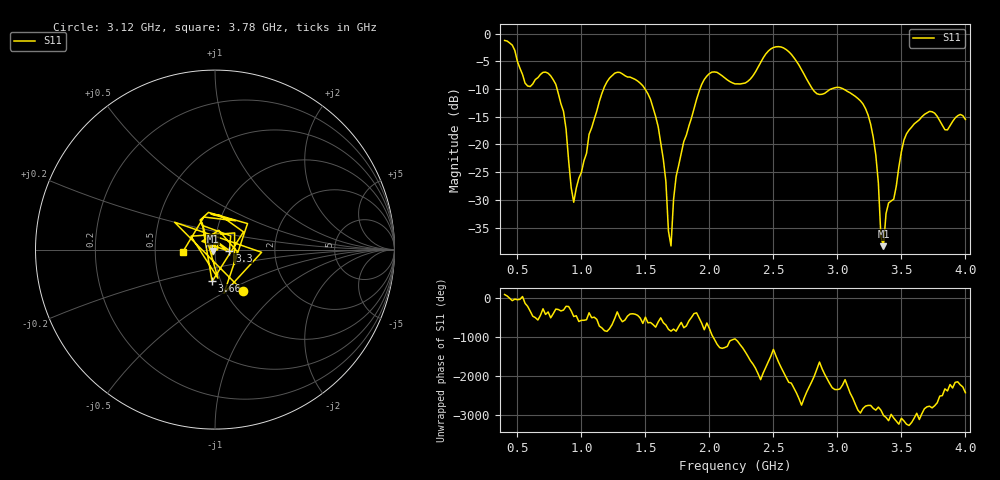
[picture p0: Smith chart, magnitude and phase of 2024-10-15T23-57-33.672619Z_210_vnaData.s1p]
! Created with skrf (http://scikit-rf.org).
# Hz S RI R 50.0
!freq ReS11 ImS11
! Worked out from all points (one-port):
!   181 points, 400 MHz to 4 GHz, reference 50 ohm
!   lowest |S11| = -38.4 dB at 3.36 GHz (marker M1), VSWR 1.02, Z = 49.1 - j0.778 ohm
!   |S11| at or under -10 dB: 810.3 MHz to 1.173 GHz (362.7 MHz wide, 36.6 % of centre); 1.497 GHz to 1.926 GHz (429 MHz wide, 25.1 % of centre); 3.048 GHz to end of sweep (the widest 3 of 4)
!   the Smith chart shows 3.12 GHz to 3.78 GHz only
!   S11 on the Smith chart (normalised r, x): 3.12 GHz: 1.21, -0.61; 3.3 GHz: 1.17, -0.01; 3.66 GHz: 0.91, -0.33; 3.78 GHz: 0.70, -0.02
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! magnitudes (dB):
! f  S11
! 400 MHz  -1.2
! 580 MHz  -9.4
! 760 MHz  -7.6
! 860 MHz  -14.0
! 940 MHz  -30.4
! 1.16 GHz  -10.8
! 1.3 GHz  -7.0
! 1.56 GHz  -13.4
! 1.64 GHz  -22.7
! 1.7 GHz  -38.3
! 1.72 GHz  -29.9
! 1.76 GHz  -23.8
! 1.96 GHz  -8.3
! 2.2 GHz  -9.1
! 2.5 GHz  -2.5
! 2.66 GHz  -4.3
! 2.84 GHz  -10.8
! 3.1 GHz  -10.7
! 3.12 GHz  -11.0
! 3.24 GHz  -14.7
! 3.3 GHz  -21.9
! 3.34 GHz  -36.7
! 3.36 GHz  -38.4
! 3.38 GHz  -32.5
! 3.56 GHz  -17.4
! 3.66 GHz  -15.0
! 3.78 GHz  -14.9
! 4 GHz  -15.5
